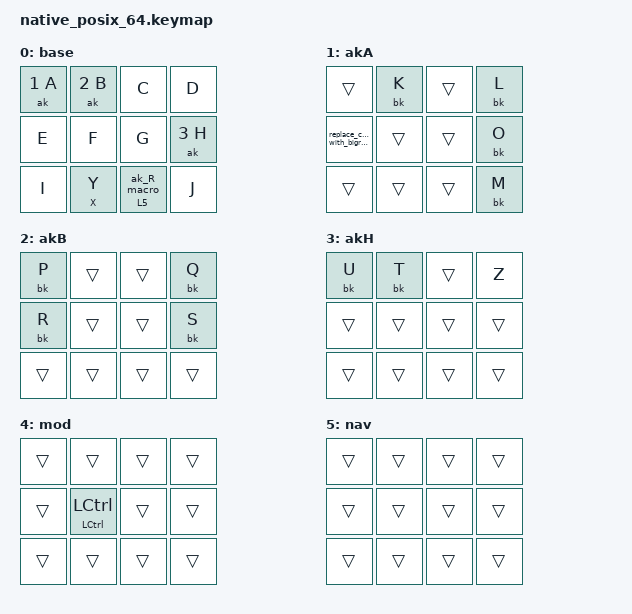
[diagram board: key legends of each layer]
/*
 * Rig R1 — synthetic 3x4 mock keymap for the AK-truth test plan
 * (CLAIMS.md "Common rig R1"; node shapes verbatim from Flo's zmk-config).
 *
 * TEMPLATE — do not edit in place. Copy this directory to
 * tests/ak-truth/<your-case>/ and add the `events` list at the bottom.
 *
 * Mock geometry: rows = 3, columns = 4, no matrix transform
 *   → position p = row * 4 + col  →  ZMK_MOCK_PRESS(p / 4, p % 4, ms)
 *
 *   ╭──────────────────────────────────────────────────────────────╮
 *   │ pos  0 (0,0) A   1 (0,1) B    2 (0,2) C     3 (0,3) D        │  row 0
 *   │ pos  4 (1,0) E   5 (1,1) F    6 (1,2) G     7 (1,3) H        │  row 1
 *   │ pos  8 (2,0) I   9 (2,1) lkXY 10 (2,2) thumb 11 (2,3) J      │  row 2
 *   ╰──────────────────────────────────────────────────────────────╯
 *
 * Node → real-config source:
 *   ak, bk          features/hands_down/adaptive_keys/macros.dtsi   (ak_tap_time = TEMP_macro_tap_time = 10)
 *   aksl, blt_akR,
 *   ak_R_macro      features/hands_down/adaptive_keys/behaviors.dtsi (my_ak_window = 100, my_tapping_term_thumb = 200)
 *   lk              features/hands_down/linger_keys/behaviors.dtsi  (linger_term = 100)
 *   htls, htm,
 *   skm, skms       features/hands_down/mods/behaviors.dtsi         (action_lay_tapping_term = 90, action_mod_tapping_term = 130)
 *   moAndBuffer     features/hands_down/mods/macros.dtsi            (l_mod → layer 4 here)
 *   hack combo      features/hands_down/adaptive_keys/combos.dtsi   (hold_key_event_delay = 11; defined LAST like the real one)
 *
 * Layers: 0 base · 1 akA · 2 akB · 3 akH · 4 mod · 5 nav
 * Labels: `combos`, `combo_hack`, `combo_R16` … so a case can `/delete-node/ &combo_hack;`
 * or `/delete-node/ &combos;` after including nothing else (see T-01-r1).
 */

#include <dt-bindings/zmk/keys.h>
#include <behaviors.dtsi>
#include <dt-bindings/zmk/kscan_mock.h>

/ {
    macros {
        ak: ak {
                label = "flo,behavior-adaptive-key";
                compatible = "zmk,behavior-macro-two-param";
                #binding-cells = <2>;
                wait-ms = <0>;
                tap-ms = <10>;
                bindings =
                        <&macro_param_2to1>,
                        <&macro_tap &kp MACRO_PLACEHOLDER>,

                        <&macro_tap_time 0>,

                        <&macro_param_1to1>,
                        <&macro_tap &aksl MACRO_PLACEHOLDER>;
        };

        bk: bk {
                label = "flo,behavior-buffered-key";
                compatible = "zmk,behavior-macro-one-param";
                #binding-cells = <1>;
                wait-ms = <0>;
                tap-ms = <10>;
                bindings =
                        <&macro_param_1to1>,
                        <&macro_tap &kp MACRO_PLACEHOLDER>
                        ;
        };

        /* real: ZMK_MACRO(ak_R_macro, wait-ms = <0>; tap-ms = <0>; bindings = <&ak l_akR R>;)
         * here the thumb's AK layer is 3 (akH) and the letter is H, per CLAIMS R1 */
        ak_R_macro: ak_R_macro {
                compatible = "zmk,behavior-macro";
                #binding-cells = <0>;
                wait-ms = <0>;
                tap-ms = <0>;
                bindings = <&ak 3 H>;
        };

        moAndBuffer: moAndBuffer {
                compatible = "zmk,behavior-macro-one-param";
                #binding-cells = <1>;
                wait-ms = <0>;
                tap-ms = <0>;
                bindings =
                        <&macro_press &mo 4>,

                        <&macro_pause_for_release>,

                        <&macro_wait_time 130>,
                        <&macro_tap &none>,

                        <&macro_release &mo 4>;
        };
    };

    behaviors {
        aksl: aksl {
            compatible = "zmk,behavior-sticky-key";
            label = "flo,behavior-adaptive-key-sticky-layer";
            #binding-cells = <1>;
            release-after-ms = <100>;
            bindings = <&mo>;
        };

        blt_akR: blt_akR {
            compatible = "zmk,behavior-hold-tap";
            #binding-cells = <2>;
            flavor = "tap-preferred";
            tapping-term-ms = <200>;
            bindings = <&mo>, <&ak_R_macro>;
        };

        lk: lk {
            compatible = "zmk,behavior-hold-tap";
            label = "lk";
            #binding-cells = <2>;
            tapping-term-ms = <100>;
            flavor = "tap-preferred";
            bindings = <&bk>, <&bk>;
        };

        skm: sticky_key_mod {
                compatible = "zmk,behavior-sticky-key";
                #binding-cells = <1>;
                bindings = <&kp>;
                release-after-ms = <1500>;
                ignore-modifiers;
        };

        skms: sticky_key_mod_shift {
                compatible = "zmk,behavior-sticky-key";
                #binding-cells = <1>;
                bindings = <&kp>;
                release-after-ms = <1500>;
        };

        htm: hold_tap_mod {
            compatible = "zmk,behavior-hold-tap";
            #binding-cells = <2>;
            tapping-term-ms = <130>;
            flavor = "tap-preferred";
            bindings = <&kp>, <&skm>;
            hold-while-undecided;
            hold-while-undecided-linger;
        };

        htls: hold_tap_layer_sticky_shift {
            compatible = "zmk,behavior-hold-tap";
            #binding-cells = <2>;
            tapping-term-ms = <90>;
            flavor = "hold-preferred";
            bindings = <&moAndBuffer>, <&skms>;
        };
    };

    combos: combos {
        compatible = "zmk,combos";

        /* real tiers: adjacent 16 / non-adjacent 18 / two-hand 30; layers = l_all (every layer) */
        combo_R16: combo_R16 {
            bindings = <&bk C>;
            key-positions = <0 2>;
            layers = <0 1 2 3 4 5>;
            timeout-ms = <16>;
        };
        combo_S16: combo_S16 {
            bindings = <&bk V>;
            key-positions = <4 5>;
            layers = <0 1 2 3 4 5>;
            timeout-ms = <16>;
        };
        combo_Q18: combo_Q18 {
            bindings = <&bk W>;
            key-positions = <4 5 6>;
            layers = <0 1 2 3 4 5>;
            timeout-ms = <18>;
        };
        combo_W30: combo_W30 {
            bindings = <&bk Z>;
            key-positions = <7 8>;
            layers = <0 1 2 3 4 5>;
            timeout-ms = <30>;
        };
        combo_V16: combo_V16 {
            bindings = <&bk Y>;
            key-positions = <6 11>;
            layers = <0 1 2 3 4 5>;
            timeout-ms = <16>;
        };

        /* COMBO_AK_CONSISTENCY_HACK — all keys, alpha+AK layers only (not mod/nav), 11 ms.
         * Defined last, as in the real combos.dtsi include order. */
        combo_hack: combo_ak_consistency_hack {
            bindings = <&none>;
            key-positions = <0 1 2 3 4 5 6 7 8 9 10 11>;
            layers = <0 1 2 3>;
            timeout-ms = <11>;
        };
    };

    keymap {
        compatible = "zmk,keymap";

        base {          /* 0 */
            bindings = <
                &ak 1 A     &ak 2 B     &kp C           &kp D
                &kp E       &kp F       &kp G           &ak 3 H
                &kp I       &lk X Y     &blt_akR 5 0    &kp J
            >;
        };

        akA {           /* 1: after A */
            bindings = <
                &trans      &bk K       &trans          &bk L
                &bk N       &trans      &trans          &bk O
                &trans      &trans      &trans          &bk M
            >;
        };

        akB {           /* 2: after B */
            bindings = <
                &bk P       &trans      &trans          &bk Q
                &bk R       &trans      &trans          &bk S
                &trans      &trans      &trans          &trans
            >;
        };

        akH {           /* 3: after H (also the thumb's AK layer) */
            bindings = <
                &bk U       &bk T       &trans          &trans
                &trans      &trans      &trans          &trans
                &trans      &trans      &trans          &trans
            >;
        };

        mod {           /* 4: l_mod stand-in */
            bindings = <
                &trans      &trans      &trans          &trans
                &trans      &htm LCTRL LCTRL  &trans    &trans
                &trans      &trans      &trans          &trans
            >;
        };

        nav {           /* 5: hold target of blt_akR */
            bindings = <
                &trans      &trans      &trans          &trans
                &trans      &trans      &trans          &trans
                &trans      &trans      &trans          &trans
            >;
        };
    };
};

&kscan {
    rows = <3>;
    columns = <4>;

    /* >>> PLACEHOLDER — the template has NO events and will not build. <<<
     * A test case copies this directory and adds, e.g.:
     *
     * events = <
     *     ZMK_MOCK_PRESS(0,3,100)      // pos 3 (D); 100 = boot delay AND the gap after (+1 each on native)
     *     ZMK_MOCK_RELEASE(0,3,10)
     *     ZMK_MOCK_PRESS(0,2,50)
     *     ZMK_MOCK_RELEASE(0,2,300)    // last gap bounds the observation window (100 ms timers need ≥ 300)
     * >;
     */
};

/* ===== ARB-F3-a-rung-F44 overlay (arbitration case, built from _rig_R1) ===== */

/* T-21's REPLACE_CHAR_WITH_BIGRAM(L, B) verbatim (preprocessor_macros.c:12-28), nested &ak 3 B → layer 3 (akH in R1). */
/ {
    macros {
        replace_char_with_bigram_LB: replace_char_with_bigramLB {
                label = "flo-macro-replace-char-with-bigram-LB";
                compatible = "zmk,behavior-macro";
                #binding-cells = <0>;
                wait-ms = <0>;
                tap-ms = <10>;
                bindings =
                        <&macro_tap &kp BACKSPACE>,
                        <&macro_tap &kp L>,
                        <&macro_release &kp LSHFT>,
                        <&macro_release &kp RSHFT>,
                        <&macro_tap &ak 3 B>;
        };
    };
};
/ {
    keymap {
        akA {          /* 1: after A — pos 4 = replace LB, pos 3 = &bk L (as T-21) */
            bindings = <
                &trans      &bk K       &trans          &bk L
                &replace_char_with_bigram_LB  &trans  &trans  &bk O
                &trans      &trans      &trans          &bk M
            >;
        };
        akH {          /* 3: the nested &ak's layer — pos 3 = &kp Z (0x1D) so a resolution on the NEW layer is visible in HID */
            bindings = <
                &bk U       &bk T       &trans          &kp Z
                &trans      &trans      &trans          &trans
                &trans      &trans      &trans          &trans
            >;
        };
    };
};

/* ARB-F3 (a) hack ON: D pressed at abs 113 = F+32, hack-only → its rung lands at 113+11+1 = 125 = F+44, same ms as the B↑/layer-3-ON tick (armed at 114). Rung armed earlier → expect rung first → D on base.
 * A-key pos 0 at abs 31 = t (R16 rung → delivered t+17, layer 1 ON t+28). E-key pos 4 at abs 62 = t+31, delivered by its own Q18 rung at abs 81 = t+50 = F (replace starts).
 * Native replace timeline: ⌫↓ F=81 · ⌫↑ + layer 1 OFF + L↓ 92 (F+11) · L↑ + ak↓ 103 (F+22) · B↓ 114 (F+33) · B↑ + layer 3 ON 125 (F+44). */
&kscan {
    events = <
        ZMK_MOCK_PRESS(0,0,30)      /* A-key  pos 0  abs  31 = t      */
        ZMK_MOCK_PRESS(1,0,50)      /* E-key  pos 4  abs  62 = t+31   */
        ZMK_MOCK_PRESS(0,3,300)     /* D-key  pos 3  abs  113 */
        ZMK_MOCK_RELEASE(0,0,10)
        ZMK_MOCK_RELEASE(1,0,10)
        ZMK_MOCK_RELEASE(0,3,300)
    >;
};
